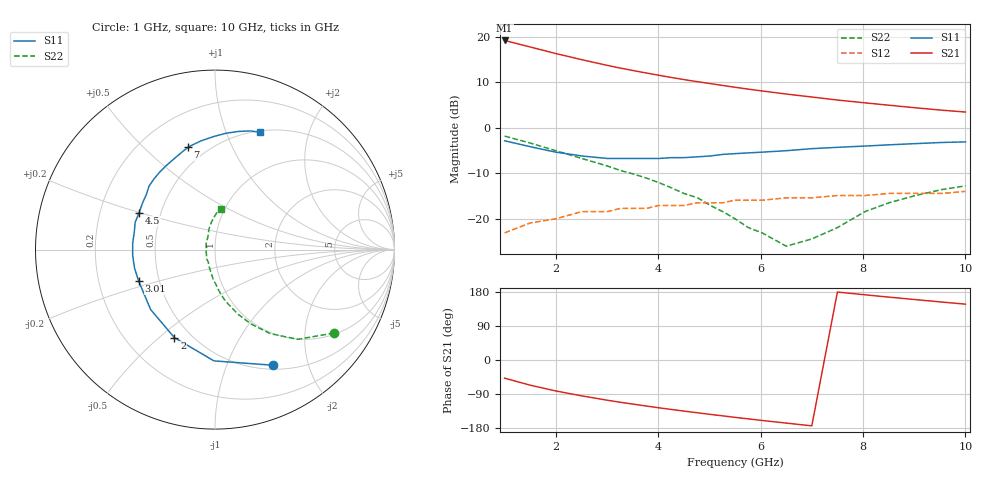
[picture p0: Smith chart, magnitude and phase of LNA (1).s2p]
!BFP420 S-PARAMETERS (SIMULATION WITH PACKAGE & BIAS)
!Vcc=10V, Ic=4mA, Vce=5V
!Z0=50 Ohm, MA/DE Format
# GHZ S MA R 50
!Freq  S11 M  S11 A  S21 M  S21 A  S12 M  S12 A  S22 M  S22 A
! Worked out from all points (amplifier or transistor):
!   25 points, 1 GHz to 10 GHz, reference 50 ohm
!   highest |S21| = 19.2 dB at 1 GHz (marker M1)
!   |S21| within 3 dB of that: start of sweep to 2.047 GHz
!   unconditionally stable (mu >= 1): 5.658 GHz to end of sweep
!   at 3.01 GHz: K = 0.73, MSG = 16.1 dB, |S12| = -18.4 dB
!   at 5.02 GHz: K = 0.97, MSG = 13.1 dB, |S12| = -16.5 dB
!   at 10 GHz: K = 1.09, MAG = 6.9 dB, |S12| = -14.0 dB
!   S11 on the Smith chart (normalised r, x): 1 GHz: 0.55, -1.47; 2 GHz: 0.41, -0.56; 3.01 GHz: 0.38, -0.17; 4.5 GHz: 0.38, +0.20; 7 GHz: 0.40, +0.69; 10 GHz: 0.52, +1.33
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1  0.72 -63.5  9.12 -47.9  0.07 -123.5  0.81 -35.0
1.5  0.62 -90.5  7.73 -66.5  0.09 -135.0  0.68 -47.3
2  0.54 -114.8  6.55 -81.7  0.1 -143.5  0.56 -56.6
2.51  0.49 -137.1  5.6 -94.7  0.12 -150.2  0.46 -64.2
3.01  0.46 -157.6  4.85 -106.2  0.12 -155.6  0.38 -70.6
3.26  0.46 -167.0  4.53 -111.5  0.13 -158.0  0.34 -73.6
3.52  0.46 -176.0  4.25 -116.6  0.13 -160.3  0.31 -76.6
3.77  0.46 175.7  4 -121.5  0.13 -162.5  0.28 -79.6
4.01  0.46 168.0  3.78 -126.1  0.14 -164.6  0.25 -82.6
4.5  0.47 154.2  3.39 -134.8  0.14 -168.5  0.19 -89.0
4.77  0.48 147.4  3.21 -139.3  0.15 -170.6  0.17 -93.1
5.02  0.49 141.4  3.06 -143.6  0.15 -172.6  0.14 -97.5
5.5  0.52 130.9  2.79 -151.3  0.16 -176.3  0.1 -108.9
5.76  0.53 125.8  2.66 -155.4  0.16 -178.3  0.08 -117.8
6.03  0.54 120.7  2.54 -159.5  0.16 179.6  0.07 -131.1
6.5  0.56 112.7  2.35 -166.5  0.17 176.0  0.05 -169.6
7  0.59 104.8  2.18 -173.7  0.17 172.1  0.06 144.4
7.5  0.61 97.7  2.02 179.3  0.18 168.2  0.08 119.9
8.04  0.63 90.7  1.88 172.1  0.18 164.0  0.12 106.2
8.51  0.65 84.9  1.77 165.8  0.19 160.3  0.15 98.3
9.02  0.67 79.2  1.66 159.4  0.19 156.3  0.18 91.9
10  0.7 68.9  1.49 147.4  0.2 148.6  0.23 82.3
